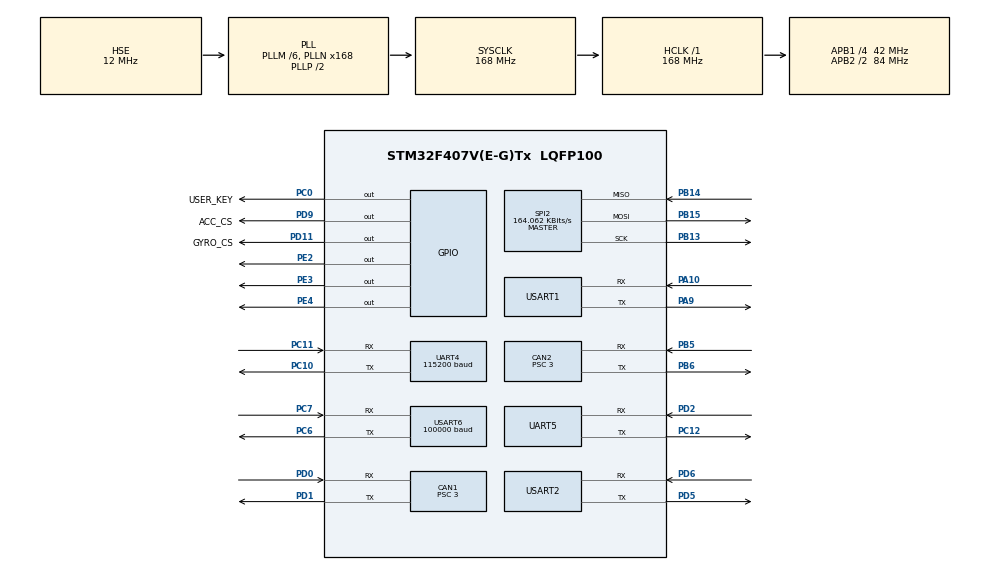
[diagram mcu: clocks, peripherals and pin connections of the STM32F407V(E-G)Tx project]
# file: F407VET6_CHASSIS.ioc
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CAN1.BS1=CAN_BS1_10TQ
CAN1.BS2=CAN_BS2_3TQ
CAN1.CalculateBaudRate=1000000
CAN1.CalculateTimeBit=1000
CAN1.CalculateTimeQuantum=71.42857142857143
CAN1.Prescaler=3
CAN2.BS1=CAN_BS1_10TQ
CAN2.BS2=CAN_BS2_3TQ
CAN2.CalculateBaudRate=1000000
CAN2.CalculateTimeBit=1000
CAN2.CalculateTimeQuantum=71.42857142857143
CAN2.Prescaler=3
Dma.Request0=USART6_RX
Dma.Request1=UART4_RX
Dma.Request2=UART4_TX
Dma.Request3=USART1_RX
Dma.UART4_RX.1.Direction=DMA_PERIPH_TO_MEMORY
Dma.UART4_RX.1.FIFOMode=DMA_FIFOMODE_DISABLE
Dma.UART4_RX.1.Instance=DMA1_Stream2
Dma.UART4_RX.1.MemDataAlignment=DMA_MDATAALIGN_BYTE
Dma.UART4_RX.1.MemInc=DMA_MINC_ENABLE
Dma.UART4_RX.1.Mode=DMA_NORMAL
Dma.UART4_RX.1.PeriphDataAlignment=DMA_PDATAALIGN_BYTE
Dma.UART4_RX.1.PeriphInc=DMA_PINC_DISABLE
Dma.UART4_RX.1.Priority=DMA_PRIORITY_VERY_HIGH
Dma.UART4_TX.2.Direction=DMA_MEMORY_TO_PERIPH
Dma.UART4_TX.2.FIFOMode=DMA_FIFOMODE_DISABLE
Dma.UART4_TX.2.Instance=DMA1_Stream4
Dma.UART4_TX.2.MemDataAlignment=DMA_MDATAALIGN_BYTE
Dma.UART4_TX.2.MemInc=DMA_MINC_ENABLE
Dma.UART4_TX.2.Mode=DMA_CIRCULAR
Dma.UART4_TX.2.PeriphDataAlignment=DMA_PDATAALIGN_BYTE
Dma.UART4_TX.2.PeriphInc=DMA_PINC_DISABLE
Dma.UART4_TX.2.Priority=DMA_PRIORITY_VERY_HIGH
Dma.USART1_RX.3.Direction=DMA_PERIPH_TO_MEMORY
Dma.USART1_RX.3.FIFOMode=DMA_FIFOMODE_DISABLE
Dma.USART1_RX.3.Instance=DMA2_Stream2
Dma.USART1_RX.3.MemDataAlignment=DMA_MDATAALIGN_BYTE
Dma.USART1_RX.3.MemInc=DMA_MINC_ENABLE
Dma.USART1_RX.3.Mode=DMA_NORMAL
Dma.USART1_RX.3.PeriphDataAlignment=DMA_PDATAALIGN_BYTE
Dma.USART1_RX.3.PeriphInc=DMA_PINC_DISABLE
Dma.USART1_RX.3.Priority=DMA_PRIORITY_VERY_HIGH
Dma.USART6_RX.0.Direction=DMA_PERIPH_TO_MEMORY
Dma.USART6_RX.0.FIFOMode=DMA_FIFOMODE_DISABLE
Dma.USART6_RX.0.Instance=DMA2_Stream1
Dma.USART6_RX.0.MemDataAlignment=DMA_MDATAALIGN_BYTE
Dma.USART6_RX.0.MemInc=DMA_MINC_ENABLE
Dma.USART6_RX.0.Mode=DMA_CIRCULAR
Dma.USART6_RX.0.PeriphDataAlignment=DMA_PDATAALIGN_BYTE
Dma.USART6_RX.0.PeriphInc=DMA_PINC_DISABLE
Dma.USART6_RX.0.Priority=DMA_PRIORITY_VERY_HIGH
FREERTOS.Tasks01=defaultTask,0,128,StartDefaultTask,Default,NULL,Dynamic,NULL,NULL;INS_TASK,3,512,INS_Task,Default,NULL,Dynamic,NULL,NULL;CHASSIS_TASK,1,512,chassis_Task,Default,NULL,Dynamic,NULL,NULL;USART_TASK,1,128,USART_Task,Default,NULL,Dynamic,NULL,NULL
FREERTOS.configTOTAL_HEAP_SIZE=30720
Mcu.Family=STM32F4
Mcu.Name=STM32F407V(E-G)Tx
Mcu.Package=LQFP100
NVIC.CAN1_RX0_IRQn=true\:5\:0\:false\:false\:true\:true\:true\:true\:true
NVIC.CAN2_RX0_IRQn=true\:5\:0\:false\:false\:true\:true\:true\:true\:true
NVIC.DMA1_Stream2_IRQn=true\:5\:0\:false\:false\:true\:true\:false\:true\:true
NVIC.DMA1_Stream4_IRQn=true\:5\:0\:false\:false\:true\:true\:false\:true\:true
NVIC.DMA2_Stream1_IRQn=true\:5\:0\:false\:false\:true\:true\:false\:true\:true
NVIC.DMA2_Stream2_IRQn=true\:5\:0\:false\:false\:true\:true\:false\:true\:true
NVIC.PriorityGroup=NVIC_PRIORITYGROUP_4
NVIC.TIM3_IRQn=true\:15\:0\:false\:false\:true\:false\:false\:true\:true
NVIC.TimeBase=TIM3_IRQn
NVIC.TimeBaseIP=TIM3
NVIC.UART4_IRQn=true\:4\:0\:true\:false\:false\:false\:true\:true\:true
NVIC.USART1_IRQn=true\:4\:0\:true\:false\:true\:false\:true\:true\:true
NVIC.USART6_IRQn=true\:5\:0\:true\:false\:true\:false\:true\:true\:true
PA10.Mode=Asynchronous
PA10.Signal=USART1_RX
PA13.Mode=Serial_Wire
PA13.Signal=SYS_JTMS-SWDIO
PA14.Mode=Serial_Wire
PA14.Signal=SYS_JTCK-SWCLK
PA9.Mode=Asynchronous
PA9.Signal=USART1_TX
PB13.Mode=Full_Duplex_Master
PB13.Signal=SPI2_SCK
PB14.Mode=Full_Duplex_Master
PB14.Signal=SPI2_MISO
PB15.Mode=Full_Duplex_Master
PB15.Signal=SPI2_MOSI
PB5.Mode=CAN_Activate
PB5.Signal=CAN2_RX
PB6.Mode=CAN_Activate
PB6.Signal=CAN2_TX
PC0.GPIO_Label=USER_KEY
PC0.Signal=GPIO_Output
PC10.Mode=Asynchronous
PC10.Signal=UART4_TX
PC11.Mode=Asynchronous
PC11.Signal=UART4_RX
PC12.Mode=Asynchronous
PC12.Signal=UART5_TX
PC6.Mode=Asynchronous
PC6.Signal=USART6_TX
PC7.Mode=Asynchronous
PC7.Signal=USART6_RX
PD0.Mode=CAN_Activate
PD0.Signal=CAN1_RX
PD1.Mode=CAN_Activate
PD1.Signal=CAN1_TX
PD11.GPIO_Label=GYRO_CS
PD11.Signal=GPIO_Output
PD2.Mode=Asynchronous
PD2.Signal=UART5_RX
PD5.Mode=Asynchronous
PD5.Signal=USART2_TX
PD6.Mode=Asynchronous
PD6.Signal=USART2_RX
PD9.GPIO_Label=ACC_CS
PD9.Signal=GPIO_Output
PE2.Signal=GPIO_Output
PE3.PinState=GPIO_PIN_SET
PE3.Signal=GPIO_Output
PE4.PinState=GPIO_PIN_SET
PE4.Signal=GPIO_Output
PH0-OSC_IN.Mode=HSE-External-Oscillator
PH0-OSC_IN.Signal=RCC_OSC_IN
PH1-OSC_OUT.Mode=HSE-External-Oscillator
PH1-OSC_OUT.Signal=RCC_OSC_OUT
ProjectManager.HeapSize=0x200
ProjectManager.StackSize=0x400
ProjectManager.TargetToolchain=MDK-ARM V5.32
RCC.48MHZClocksFreq_Value=84000000
RCC.AHBFreq_Value=168000000
RCC.APB1CLKDivider=RCC_HCLK_DIV4
RCC.APB1Freq_Value=42000000
RCC.APB1TimFreq_Value=84000000
RCC.APB2CLKDivider=RCC_HCLK_DIV2
RCC.APB2Freq_Value=84000000
RCC.APB2TimFreq_Value=168000000
RCC.CortexFreq_Value=168000000
RCC.HCLKFreq_Value=168000000
RCC.HSE_VALUE=12000000
RCC.HSI_VALUE=16000000
RCC.LSE_VALUE=32768
RCC.PLLM=6
RCC.PLLN=168
RCC.PLLSourceVirtual=RCC_PLLSOURCE_HSE
RCC.SYSCLKFreq_VALUE=168000000
RCC.SYSCLKSource=RCC_SYSCLKSOURCE_PLLCLK
RCC.VCOOutputFreq_Value=336000000
SPI2.BaudRatePrescaler=SPI_BAUDRATEPRESCALER_256
SPI2.CLKPhase=SPI_PHASE_2EDGE
SPI2.CLKPolarity=SPI_POLARITY_HIGH
SPI2.CalculateBaudRate=164.062 KBits/s
SPI2.Direction=SPI_DIRECTION_2LINES
SPI2.Mode=SPI_MODE_MASTER
SPI2.VirtualType=VM_MASTER
UART4.BaudRate=115200
UART4.VirtualMode=Asynchronous
UART5.VirtualMode=Asynchronous
USART1.VirtualMode=VM_ASYNC
USART2.VirtualMode=VM_ASYNC
USART6.BaudRate=100000
USART6.Mode=MODE_TX_RX
USART6.Parity=PARITY_EVEN
USART6.StopBits=STOPBITS_2
USART6.VirtualMode=VM_ASYNC
USART6.WordLength=WORDLENGTH_9B
VP_FREERTOS_VS_CMSIS_V1.Mode=CMSIS_V1
VP_SYS_VS_tim3.Mode=TIM3
board=custom

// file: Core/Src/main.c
/* USER CODE BEGIN Header */
/**
  ******************************************************************************
  * @file           : main.c
  * @brief          : Main program body
  ******************************************************************************
  * @attention
  *
  * Copyright (c) 2024 STMicroelectronics.
  * All rights reserved.
  *
  * This software is licensed under terms that can be found in the LICENSE file
  * in the root directory of this software component.
  * If no LICENSE file comes with this software, it is provided AS-IS.
  *
  ******************************************************************************
  */
/* USER CODE END Header */
#include "main.h"
#include "cmsis_os.h"
#include "can.h"
#include "dma.h"
#include "spi.h"
#include "usart.h"
#include "gpio.h"

/* USER CODE BEGIN Includes */
#include "usart_rc_dbus.h"
#include "BMI088driver.h"
#include "BMI088reg.h"
#include "BMI088Middleware.h"
#include "bsp_dwt.h"
#include "can_receive.h"
#include "ins_task.h"
#include "Steering_wheel_chassis.h"
#include "USART_task.h"
/* USER CODE END Includes */

void SystemClock_Config(void);
void MX_FREERTOS_Init(void);

int main(void)
{

  /* MCU Configuration--------------------------------------------------------*/

  /* Reset of all peripherals, Initializes the Flash interface and the Systick. */
  HAL_Init();

  /* Configure the system clock */
  SystemClock_Config();

  /* Initialize all configured peripherals */
  MX_GPIO_Init();
  MX_DMA_Init();
  MX_CAN1_Init();
  MX_CAN2_Init();
  MX_SPI2_Init();
  MX_UART4_Init();
  MX_UART5_Init();
  MX_USART2_UART_Init();
  MX_USART6_UART_Init();
  MX_USART1_UART_Init();
  /* USER CODE BEGIN 2 */
	CAN_Init();
	RC_init();
	USART_485_init();

	DWT_Init(168);
  /* BMI088初始化 *///之前已经对角速度和加速度的零飘校准过了，所以之后上电就不需要校准。如果硬件设备更换，则需要重新校准下
  while (BMI088_init(&hspi2, 0) != BMI088_NO_ERROR)
	{
	  HAL_GPIO_TogglePin(GPIOE,GPIO_PIN_2);
	}
  /* USER CODE END 2 */

  /* Call init function for freertos objects (in cmsis_os2.c) */
  MX_FREERTOS_Init();

  /* Start scheduler */
  osKernelStart();

  /* We should never get here as control is now taken by the scheduler */

  /* Infinite loop */
  while (1)
  {

  }
}

void SystemClock_Config(void)
{
  RCC_OscInitTypeDef RCC_OscInitStruct = {0};
  RCC_ClkInitTypeDef RCC_ClkInitStruct = {0};

  /** Configure the main internal regulator output voltage
  */
  __HAL_RCC_PWR_CLK_ENABLE();
  __HAL_PWR_VOLTAGESCALING_CONFIG(PWR_REGULATOR_VOLTAGE_SCALE1);

  /** Initializes the RCC Oscillators according to the specified parameters
  * in the RCC_OscInitTypeDef structure.
  */
  RCC_OscInitStruct.OscillatorType = RCC_OSCILLATORTYPE_HSE;
  RCC_OscInitStruct.HSEState = RCC_HSE_ON;
  RCC_OscInitStruct.PLL.PLLState = RCC_PLL_ON;
  RCC_OscInitStruct.PLL.PLLSource = RCC_PLLSOURCE_HSE;
  RCC_OscInitStruct.PLL.PLLM = 6;
  RCC_OscInitStruct.PLL.PLLN = 168;
  RCC_OscInitStruct.PLL.PLLP = RCC_PLLP_DIV2;
  RCC_OscInitStruct.PLL.PLLQ = 4;
  if (HAL_RCC_OscConfig(&RCC_OscInitStruct) != HAL_OK)
  {
    Error_Handler();
  }

  /** Initializes the CPU, AHB and APB buses clocks
  */
  RCC_ClkInitStruct.ClockType = RCC_CLOCKTYPE_HCLK|RCC_CLOCKTYPE_SYSCLK
                              |RCC_CLOCKTYPE_PCLK1|RCC_CLOCKTYPE_PCLK2;
  RCC_ClkInitStruct.SYSCLKSource = RCC_SYSCLKSOURCE_PLLCLK;
  RCC_ClkInitStruct.AHBCLKDivider = RCC_SYSCLK_DIV1;
  RCC_ClkInitStruct.APB1CLKDivider = RCC_HCLK_DIV4;
  RCC_ClkInitStruct.APB2CLKDivider = RCC_HCLK_DIV2;

  if (HAL_RCC_ClockConfig(&RCC_ClkInitStruct, FLASH_LATENCY_5) != HAL_OK)
  {
    Error_Handler();
  }
}

void HAL_TIM_PeriodElapsedCallback(TIM_HandleTypeDef *htim)
{
  if (htim->Instance == TIM3) {
    HAL_IncTick();
  }
}

void Error_Handler(void)
{
  __disable_irq();
  while (1)
  {
  }
}

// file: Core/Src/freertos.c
/* USER CODE BEGIN Header */
/**
  ******************************************************************************
  * File Name          : freertos.c
  * Description        : Code for freertos applications
  ******************************************************************************
  * @attention
  *
  * Copyright (c) 2024 STMicroelectronics.
  * All rights reserved.
  *
  * This software is licensed under terms that can be found in the LICENSE file
  * in the root directory of this software component.
  * If no LICENSE file comes with this software, it is provided AS-IS.
  *
  ******************************************************************************
  */
/* USER CODE END Header */

#include "FreeRTOS.h"
#include "task.h"
#include "main.h"
#include "cmsis_os.h"

/* USER CODE BEGIN Includes */
#include "ins_task.h"
#include "Steering_wheel_chassis.h"
#include "USART_task.h"
/* USER CODE END Includes */

osThreadId defaultTaskHandle;
osThreadId INS_TASKHandle;
osThreadId CHASSIS_TASKHandle;
osThreadId USART_TASKHandle;

void StartDefaultTask(void const * argument);
void INS_Task(void const * argument);
void chassis_Task(void const * argument);
void USART_Task(void const * argument);

void MX_FREERTOS_Init(void); /* (MISRA C 2004 rule 8.1) */

/* GetIdleTaskMemory prototype (linked to static allocation support) */
void vApplicationGetIdleTaskMemory( StaticTask_t **ppxIdleTaskTCBBuffer, StackType_t **ppxIdleTaskStackBuffer, uint32_t *pulIdleTaskStackSize );

/* USER CODE BEGIN GET_IDLE_TASK_MEMORY */
static StaticTask_t xIdleTaskTCBBuffer;
static StackType_t xIdleStack[configMINIMAL_STACK_SIZE];

void vApplicationGetIdleTaskMemory( StaticTask_t **ppxIdleTaskTCBBuffer, StackType_t **ppxIdleTaskStackBuffer, uint32_t *pulIdleTaskStackSize )
{
  *ppxIdleTaskTCBBuffer = &xIdleTaskTCBBuffer;
  *ppxIdleTaskStackBuffer = &xIdleStack[0];
  *pulIdleTaskStackSize = configMINIMAL_STACK_SIZE;
  /* place for user code */
}
/* USER CODE END GET_IDLE_TASK_MEMORY */

void MX_FREERTOS_Init(void) {

  /* Create the thread(s) */
  /* definition and creation of defaultTask */
  osThreadDef(defaultTask, StartDefaultTask, osPriorityNormal, 0, 128);
  defaultTaskHandle = osThreadCreate(osThread(defaultTask), NULL);

  /* definition and creation of INS_TASK */
  osThreadDef(INS_TASK, INS_Task, osPriorityRealtime, 0, 512);
  INS_TASKHandle = osThreadCreate(osThread(INS_TASK), NULL);

  /* definition and creation of CHASSIS_TASK */
  osThreadDef(CHASSIS_TASK, chassis_Task, osPriorityAboveNormal, 0, 512);
  CHASSIS_TASKHandle = osThreadCreate(osThread(CHASSIS_TASK), NULL);

  /* definition and creation of USART_TASK */
  osThreadDef(USART_TASK, USART_Task, osPriorityAboveNormal, 0, 128);
  USART_TASKHandle = osThreadCreate(osThread(USART_TASK), NULL);

}

void StartDefaultTask(void const * argument)
{
  for(;;)
  {
    osDelay(1);
  }
}

void INS_Task(void const * argument)
{
  /* USER CODE BEGIN INS_Task */
  /* Infinite loop */
  for(;;)
  {
		INS_task();
  }
  /* USER CODE END INS_Task */
}

void chassis_Task(void const * argument)
{
  /* USER CODE BEGIN chassis_Task */
  /* Infinite loop */
  for(;;)
  {
    chassis_task();
  }
  /* USER CODE END chassis_Task */
}

void USART_Task(void const * argument)
{
  /* USER CODE BEGIN USART_Task */
  /* Infinite loop */
  for(;;)
  {
    USART_task();
  }
  /* USER CODE END USART_Task */
}
